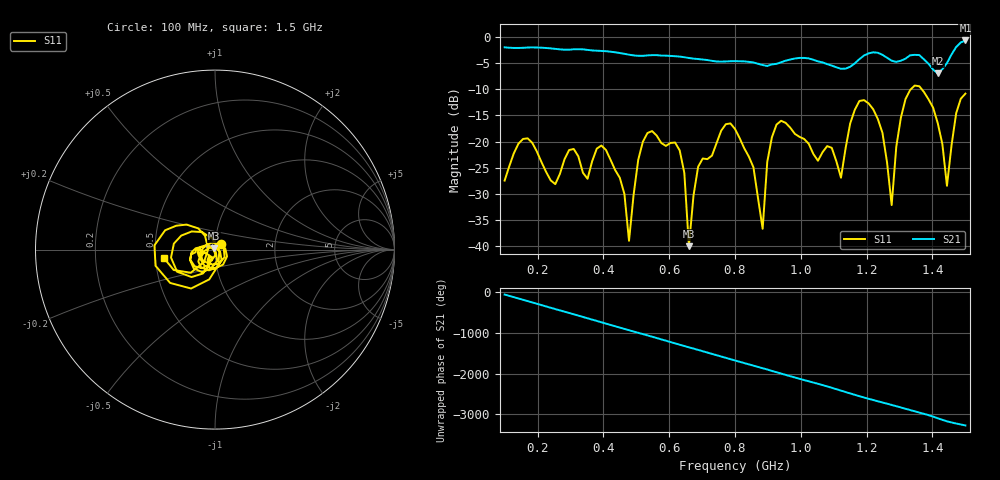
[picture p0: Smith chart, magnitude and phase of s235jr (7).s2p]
! NanoVNA-App
! Date: 2025-09-25 15:04:13
! Start: 100MHz Stop: 1,5GHz Points: 101
! S-Parameter data: F S11 S21 S12 S22
# Hz S RI R 50
!  Frequency  S11_Real  S11_Imag  S21_Real  S21_Imag  S12_Real  S12_Imag  S22_Real  S22_Imag
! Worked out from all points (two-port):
!   101 points, 100 MHz to 1.5 GHz, reference 50 ohm
!   highest |S21| = -0.65 dB at 1.5 GHz (marker M1); lowest = -6.9 dB at 1.416 GHz (marker M2)
!   |S21| within 3 dB of the highest: start of sweep to 614.5 MHz; 1.19 GHz to 1.254 GHz (64.53 MHz wide, 5.28 % of centre) (the widest 2 of 4)
!   lowest |S11| = -40.0 dB at 660 MHz (marker M3), VSWR 1.02, Z = 49.3 + j0.665 ohm
!   |S11| at or under -10 dB: start of sweep to 1.334 GHz; 1.367 GHz to end of sweep
!   S12 and S22 are empty: the file has one direction only
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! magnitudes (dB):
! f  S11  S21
! 100 MHz  -27.5  -2.0
! 170 MHz  -19.4  -2.0
! 338 MHz  -26.0  -2.4
! 408 MHz  -21.6  -2.7
! 478 MHz  -39.0  -3.4
! 520 MHz  -20.0  -3.6
! 576 MHz  -20.3  -3.6
! 632 MHz  -21.7  -3.7
! 660 MHz  -40.0  -4.0
! 688 MHz  -24.8  -4.2
! 800 MHz  -17.6  -4.6
! 884 MHz  -36.7  -5.4
! 926 MHz  -16.8  -5.1
! 1.038 GHz  -22.4  -4.4
! 1.122 GHz  -26.9  -6.1
! 1.192 GHz  -12.1  -3.5
! 1.248 GHz  -18.3  -3.4
! 1.276 GHz  -32.2  -4.5
! 1.332 GHz  -10.1  -3.5
! 1.416 GHz  -16.5  -6.9
! 1.444 GHz  -28.5  -5.0
! 1.5 GHz  -10.8  -0.6
